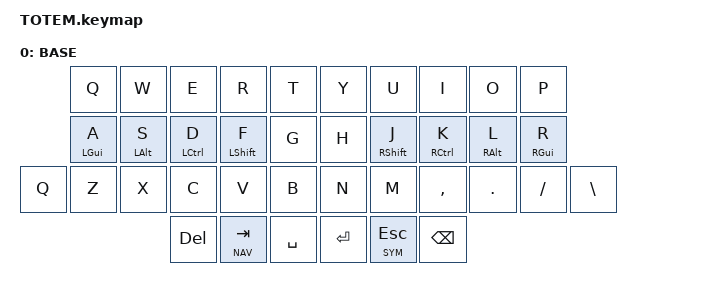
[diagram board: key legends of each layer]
// Based on the TOTEM keymap from https://github.com/GEIGEIGEIST/zmk-config-totem/ 
// but using QWERTY layout for letters.

#include <behaviors.dtsi>
#include <dt-bindings/zmk/keys.h>
#include <dt-bindings/zmk/bt.h>
#define _BT_SEL_KEYS_                                                        \
      &bt BT_SEL 0 &bt BT_SEL 1 &bt BT_SEL 2 &bt BT_SEL 3 &bt BT_CLR

#define BASE 0
#define NAV  1
#define SYM  2
#define ADJ  3
#define TVP1 4
#define TVP2 5

#define XXX &none
#define ___ &trans

#define QUICK_TAP_MS 175

&sk {
  release-after-ms = <900>;
  quick-release;
};

&sl { // Allow sticky mods to chord across sticky layers.
  ignore-modifiers;
};

&lt {
  flavor = "balanced";
  tapping-term-ms = <200>;
  quick-tap-ms = <QUICK_TAP_MS>;
};

/* Homerow mods */

#define KEYS_L LT0 LT1 LT2 LT3 LT4 LM0 LM1 LM2 LM3 LM4 LB0 LB1 LB2 LB3 LB4
#define KEYS_R RT0 RT1 RT2 RT3 RT4 RM0 RM1 RM2 RM3 RM4 RB0 RB1 RB2 RB3 RB4
#ifndef LH2
    #define THUMBS LH1 LH0 RH0 RH1         // Thumbs on 34 keys.
#else
    #define THUMBS LH2 LH1 LH0 RH0 RH1 RH2 // Thumbs on 36+ keys.
#endif

#define MAKE_HRM(NAME, HOLD, TAP, TRIGGER_POS)                                 \
    ZMK_HOLD_TAP(NAME, bindings = <HOLD>, <TAP>; flavor = "balanced";          \
               tapping-term-ms = <280>; quick-tap-ms = <QUICK_TAP_MS>;         \
               require-prior-idle-ms = <150>; hold-trigger-on-release;         \
               hold-trigger-key-positions = <TRIGGER_POS>;)

MAKE_HRM(hml, &kp, &kp, KEYS_R THUMBS) // Left-hand HRMs.
MAKE_HRM(hmr, &kp, &kp, KEYS_L THUMBS) // Right-hand HRMs.

// Hack: Make HRM combos tap-only (cf, ZMK issue #544).
#define ZMK_COMBO_8(NAME, TAP, POS, LAYERS, COMBO_MS, IDLE_MS, HOLD, SIDE)     \
  MAKE_HRM(hm_combo_##NAME, &kp, TAP, SIDE THUMBS)                             \
  ZMK_COMBO_6(NAME, &hm_combo_##NAME HOLD 0, POS, LAYERS, COMBO_MS, IDLE_MS)


&mt {
  flavor = "tap-preferred";
  tapping-term-ms = <220>;
  quick-tap-ms = <220>;
  hold-trigger-key-positions = <0>;
};

/ {
    combos {
        compatible = "zmk,combos";
        combo_esc {
            timeout-ms = <50>;
            key-positions = <0 1>;
            bindings = <&kp ESC>;
        };
        combo_tvp {
            timeout-ms = <100>;
            key-positions = <11 12 13>;
            bindings = <&tog TVP1>;
        };
    };

    macros {
        gif: gif {
            display-name = "giphy";
            compatible = "zmk,behavior-macro";
            #binding-cells = <0>;
            bindings
                = <&macro_press &kp LSHFT>
                , <&macro_tap &kp N2>
                , <&macro_release &kp LSHFT>
                , <&macro_tap &kp G &kp I &kp F>
                ;
        };
    };

    keymap {
        compatible = "zmk,keymap";

        base_layer {
            display-name= "BASE";

            bindings = <
//              ╭─────────────┬─────────────┬─────────────┬─────────────┬─────────────╮ ╭─────────────┬─────────────┬─────────────┬─────────────┬─────────────╮
                  &kp Q         &kp W         &kp E         &kp R         &kp T           &kp Y         &kp U         &kp I         &kp O         &kp P       
//              ├─────────────┼─────────────┼─────────────┼─────────────┼─────────────┤ ├─────────────┼─────────────┼─────────────┼─────────────┼─────────────┤
                  &mt LGUI A    &mt LALT S    &mt LCTRL D   &mt LSHFT F   &kp G           &kp H         &mt RSHFT J   &mt RCTRL K   &mt RALT L    &mt RGUI R  
//╭─────────────┼─────────────┼─────────────┼─────────────┼─────────────┼─────────────┤ ├─────────────┼─────────────┼─────────────┼─────────────┼─────────────┼─────────────╮
    &kp Q         &kp Z         &kp X         &kp C         &kp V         &kp B           &kp N         &kp M         &kp COMMA     &kp DOT       &kp FSLH      &kp BSLH    
//╰─────────────┼─────────────┼─────────────┼─────────────┼─────────────┼─────────────┤ ├─────────────┼─────────────┼─────────────┼─────────────┼─────────────┼─────────────╯
                                              &kp DEL       &lt NAV TAB   &kp SPACE       &kp RET       &lt SYM ESC   &kp BSPC
//                                          ╰─────────────┴─────────────┴─────────────╯ ╰─────────────┴─────────────┴─────────────╯
                        >;
        };

        base_layer {
            display-name= "BASE";

            bindings = <
//              ╭─────────────┬─────────────┬─────────────┬─────────────┬─────────────╮ ╭─────────────┬─────────────┬─────────────┬─────────────┬─────────────╮
                  &kp Q         &kp W         &kp E         &kp R         &kp T           &kp Y         &kp U         &kp I         &kp O         &kp P       
//              ├─────────────┼─────────────┼─────────────┼─────────────┼─────────────┤ ├─────────────┼─────────────┼─────────────┼─────────────┼─────────────┤
                  &mt LGUI A    &mt LALT S    &mt LCTRL D   &mt LSHFT F   &kp G           &kp H         &mt RSHFT J   &mt RCTRL K   &mt RALT L    &mt RGUI R  
//╭─────────────┼─────────────┼─────────────┼─────────────┼─────────────┼─────────────┤ ├─────────────┼─────────────┼─────────────┼─────────────┼─────────────┼─────────────╮
    &kp Q         &kp Z         &kp X         &kp C         &kp V         &kp B           &kp N         &kp M         &kp COMMA     &kp DOT       &kp FSLH      &kp BSLH    
//╰─────────────┼─────────────┼─────────────┼─────────────┼─────────────┼─────────────┤ ├─────────────┼─────────────┼─────────────┼─────────────┼─────────────┼─────────────╯
                                              &kp DEL       &lt NAV TAB   &kp SPACE       &kp RET       &lt SYM ESC   &kp BSPC
//                                          ╰─────────────┴─────────────┴─────────────╯ ╰─────────────┴─────────────┴─────────────╯
                        >;
        };
    };
};
